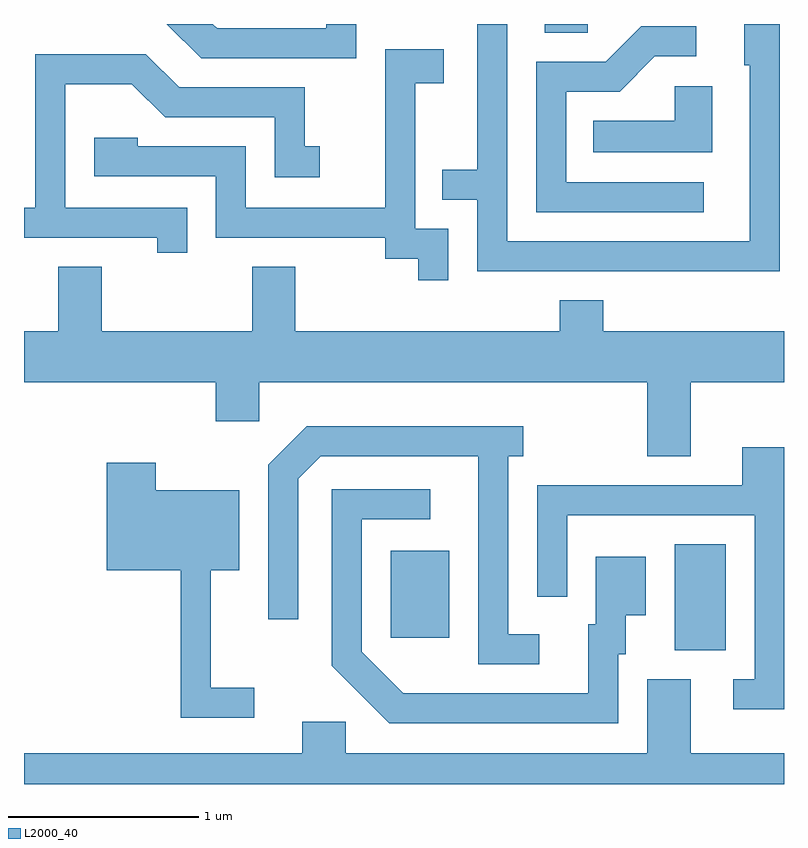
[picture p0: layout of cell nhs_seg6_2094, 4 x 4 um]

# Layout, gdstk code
import gdstk
lib = gdstk.Library(unit=1e-6, precision=1e-09)
def R(c, l, rs):  # rectangles x0, y0, x1, y1
    for r in rs: c.add(gdstk.rectangle(r[:2], r[2:], *l))
def P(c, l, *ps):  # polygons
    for p in ps: c.add(gdstk.Polygon(p, *l))
L2000_40 = (2000, 40)

nhs_seg6_2094 = lib.new_cell('nhs_seg6_2094')
R(nhs_seg6_2094, L2000_40, [(253.036,1530.866,253.304,1531.424), (251.541,1530.931,251.849,1531.389), (252.351,1534.116,252.579,1534.162)])
P(nhs_seg6_2094, L2000_40, [(253.589,1534.162),(253.401,1534.162),(253.401,1533.946),(253.431,1533.946),(253.431,1533.019),(252.154,1533.019),(252.154,1534.162),(251.996,1534.162),(251.996,1533.394),(251.813,1533.394),(251.813,1533.236),(251.996,1533.236),(251.996,1532.861),(253.589,1532.861)],
  [(251.359,1534.162),(251.201,1534.162),(251.201,1534.139),(250.627,1534.139),(250.604,1534.162),(250.363,1534.162),(250.544,1533.981),(251.359,1533.981)],
  [(253.188,1533.329),(252.464,1533.329),(252.464,1533.806),(252.747,1533.806),(252.932,1533.991),(253.148,1533.991),(253.148,1534.149),(252.859,1534.149),(252.674,1533.964),(252.306,1533.964),(252.306,1533.171),(253.188,1533.171)],
  [(251.844,1533.084),(251.669,1533.084),(251.669,1533.851),(251.819,1533.851),(251.819,1534.029),(251.511,1534.029),(251.511,1533.194),(250.779,1533.194),(250.779,1533.519),(250.209,1533.519),(250.209,1533.564),(249.981,1533.564),(249.981,1533.361),(250.621,1533.361),(250.621,1533.036),(251.511,1533.036),(251.511,1532.926),(251.686,1532.926),(251.686,1532.813),(251.844,1532.813)],
  [(250.469,1533.194),(249.829,1533.194),(249.829,1533.846),(250.179,1533.846),(250.354,1533.671),(250.931,1533.671),(250.931,1533.356),(251.168,1533.356),(251.168,1533.519),(251.089,1533.519),(251.089,1533.829),(250.427,1533.829),(250.252,1534.004),(249.671,1534.004),(249.671,1533.194),(249.611,1533.194),(249.611,1533.036),(250.311,1533.036),(250.311,1532.958),(250.469,1532.958)],
  [(253.234,1533.834),(253.036,1533.834),(253.036,1533.654),(252.608,1533.654),(252.608,1533.486),(253.234,1533.486)],
  [(253.119,1532.276),(253.611,1532.276),(253.611,1532.544),(252.659,1532.544),(252.659,1532.709),(252.431,1532.709),(252.431,1532.544),(251.039,1532.544),(251.039,1532.884),(250.811,1532.884),(250.811,1532.544),(250.019,1532.544),(250.019,1532.884),(249.791,1532.884),(249.791,1532.544),(249.611,1532.544),(249.611,1532.276),(250.621,1532.276),(250.621,1532.071),(250.849,1532.071),(250.849,1532.276),(252.891,1532.276),(252.891,1531.886),(253.119,1531.886)],
  [(252.323,1530.949),(252.159,1530.949),(252.159,1531.886),(252.238,1531.886),(252.238,1532.044),(251.099,1532.044),(250.896,1531.842),(250.896,1531.028),(251.054,1531.028),(251.054,1531.769),(251.172,1531.886),(252.001,1531.886),(252.001,1530.791),(252.323,1530.791)],
  [(253.611,1531.934),(253.391,1531.934),(253.391,1531.734),(252.311,1531.734),(252.311,1531.148),(252.469,1531.148),(252.469,1531.576),(253.456,1531.576),(253.456,1530.714),(253.343,1530.714),(253.343,1530.556),(253.611,1530.556)],
  [(250.823,1530.669),(250.594,1530.669),(250.594,1531.286),(250.744,1531.286),(250.744,1531.709),(250.304,1531.709),(250.304,1531.854),(250.046,1531.854),(250.046,1531.286),(250.436,1531.286),(250.436,1530.511),(250.823,1530.511)],
  [(252.739,1530.846),(252.779,1530.846),(252.779,1531.051),(252.884,1531.051),(252.884,1531.359),(252.621,1531.359),(252.621,1531.004),(252.581,1531.004),(252.581,1530.639),(251.607,1530.639),(251.389,1530.857),(251.389,1531.556),(251.748,1531.556),(251.748,1531.714),(251.231,1531.714),(251.231,1530.784),(251.534,1530.481),(252.739,1530.481)],
  [(253.611,1530.324),(253.119,1530.324),(253.119,1530.714),(252.891,1530.714),(252.891,1530.324),(251.304,1530.324),(251.304,1530.489),(251.076,1530.489),(251.076,1530.324),(249.611,1530.324),(249.611,1530.162),(253.611,1530.162)])

lib.write_gds('nhs_seg6_2094.gds')
